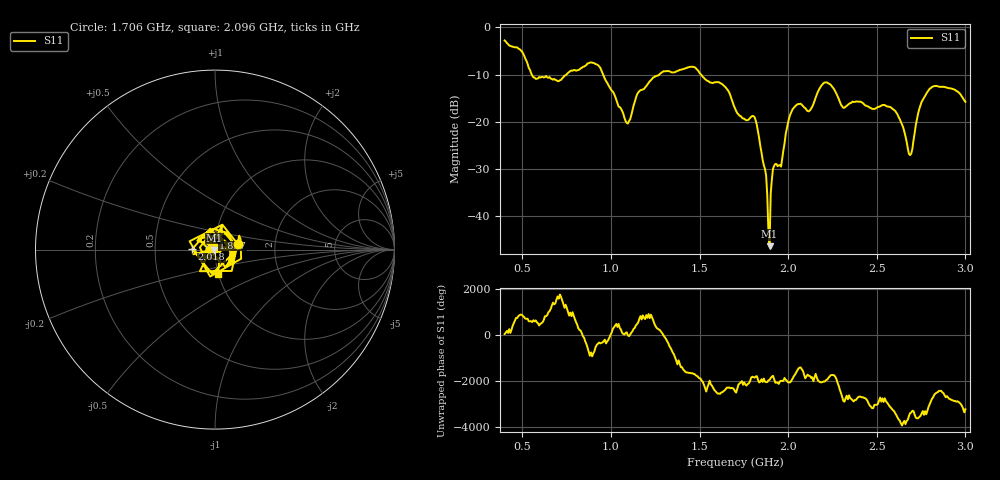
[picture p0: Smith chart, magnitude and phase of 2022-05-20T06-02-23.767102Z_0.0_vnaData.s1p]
!Created with skrf (http://scikit-rf.org).
# Hz S RI R 50.0
!freq ReS11 ImS11
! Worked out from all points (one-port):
!   401 points, 400 MHz to 3 GHz, reference 50 ohm
!   lowest |S11| = -46.3 dB at 1.895 GHz (marker M1), VSWR 1.01, Z = 49.6 - j0.226 ohm
!   |S11| at or under -10 dB: 553.3 MHz to 749.1 MHz (195.8 MHz wide, 30.1 % of centre); 955 MHz to 1.273 GHz (317.8 MHz wide, 28.5 % of centre); 1.508 GHz to end of sweep
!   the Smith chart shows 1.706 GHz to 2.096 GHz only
!   S11 on the Smith chart (normalised r, x): 1.706 GHz: 1.29, +0.08; 1.837 GHz: 0.98, +0.13; 2.018 GHz: 0.77, +0.00; 2.096 GHz: 0.99, -0.28
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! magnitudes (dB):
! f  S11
! 400 MHz  -2.8
! 491 MHz  -4.9
! 569 MHz  -10.6
! 725 MHz  -10.8
! 913.5 MHz  -7.8
! 1.05 GHz  -16.9
! 1.095 GHz  -20.4
! 1.161 GHz  -13.5
! 1.375 GHz  -9.2
! 1.622 GHz  -11.9
! 1.7 GHz  -17.1
! 1.706 GHz  -17.7
! 1.804 GHz  -18.8
! 1.837 GHz  -23.5
! 1.895 GHz  -46.3
! 1.921 GHz  -29.3
! 1.96 GHz  -29.5
! 2.018 GHz  -17.9
! 2.025 GHz  -17.3
! 2.096 GHz  -17.1
! 2.213 GHz  -11.7
! 2.35 GHz  -16.1
! 2.591 GHz  -17.3
! 2.675 GHz  -25.6
! 2.695 GHz  -26.8
! 2.747 GHz  -16.5
! 2.805 GHz  -12.9
! 3 GHz  -15.8
